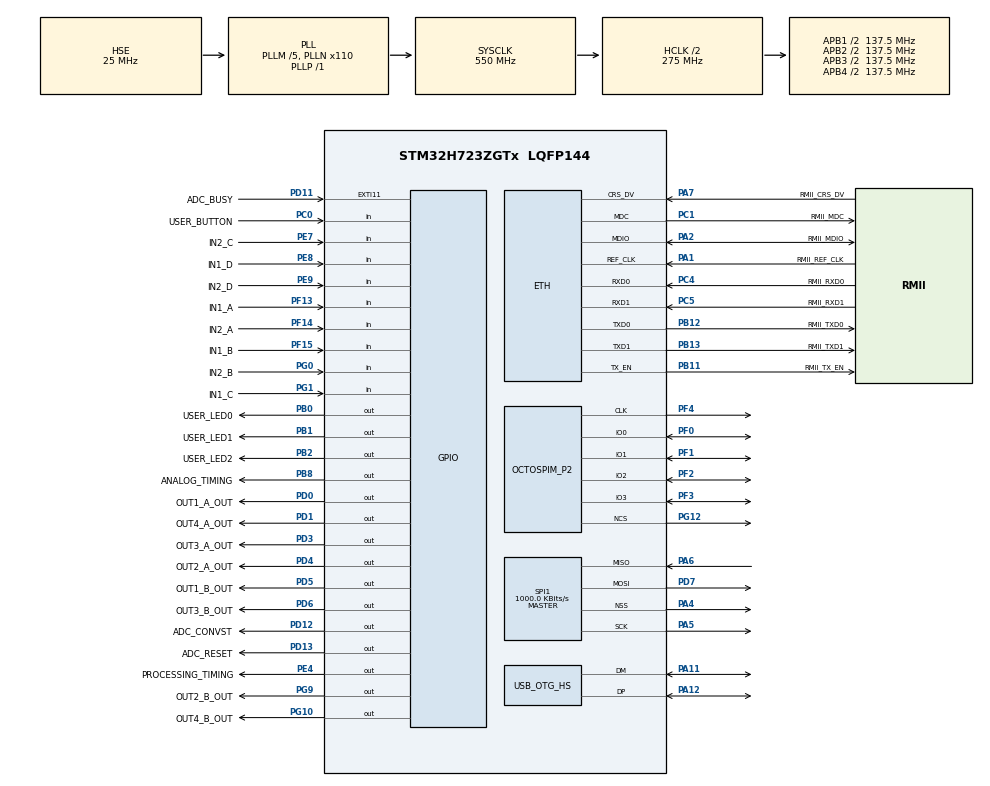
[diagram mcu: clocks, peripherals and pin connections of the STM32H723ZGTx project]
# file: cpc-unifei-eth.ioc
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ADC3.Channel-0\#ChannelRegularConversion=ADC_CHANNEL_TEMPSENSOR
ADC3.NbrOfConversionFlag=1
ADC3.OffsetNumber-0\#ChannelRegularConversion=ADC_OFFSET_NONE
ADC3.OffsetSign-0\#ChannelRegularConversion=ADC3_OFFSET_SIGN_NEGATIVE
ADC3.OversamplingMode=ENABLE
ADC3.Rank-0\#ChannelRegularConversion=1
ADC3.Ratio=ADC3_OVERSAMPLING_RATIO_8
ADC3.RightBitShift=ADC_RIGHTBITSHIFT_3
ADC3.SamplingTime-0\#ChannelRegularConversion=ADC3_SAMPLETIME_640CYCLES_5
CORTEX_M7.AccessPermission_S-Cortex_Memory_Protection_Unit_Region1_Settings_S=MPU_REGION_FULL_ACCESS
CORTEX_M7.AccessPermission_S-Cortex_Memory_Protection_Unit_Region2_Settings_S=MPU_REGION_FULL_ACCESS
CORTEX_M7.BaseAddress_S-Cortex_Memory_Protection_Unit_Region1_Settings_S=0x30000000
CORTEX_M7.BaseAddress_S-Cortex_Memory_Protection_Unit_Region2_Settings_S=0x30000000
CORTEX_M7.CPU_DCache=Enabled
CORTEX_M7.CPU_ICache=Enabled
CORTEX_M7.DisableExec_S-Cortex_Memory_Protection_Unit_Region1_Settings_S=MPU_INSTRUCTION_ACCESS_DISABLE
CORTEX_M7.DisableExec_S-Cortex_Memory_Protection_Unit_Region2_Settings_S=MPU_INSTRUCTION_ACCESS_DISABLE
CORTEX_M7.Enable_S-Cortex_Memory_Protection_Unit_Region1_Settings_S=MPU_REGION_ENABLE
CORTEX_M7.Enable_S-Cortex_Memory_Protection_Unit_Region2_Settings_S=MPU_REGION_ENABLE
CORTEX_M7.IsBufferable_S-Cortex_Memory_Protection_Unit_Region2_Settings_S=MPU_ACCESS_BUFFERABLE
CORTEX_M7.IsShareable_S-Cortex_Memory_Protection_Unit_Region2_Settings_S=MPU_ACCESS_SHAREABLE
CORTEX_M7.Size_S-Cortex_Memory_Protection_Unit_Region1_Settings_S=MPU_REGION_SIZE_32KB
CORTEX_M7.Size_S-Cortex_Memory_Protection_Unit_Region2_Settings_S=MPU_REGION_SIZE_512B
CORTEX_M7.TypeExtField_S-Cortex_Memory_Protection_Unit_Region1_Settings_S=MPU_TEX_LEVEL1
CORTEX_M7.default_mode_Activation=1
Dma.Request0=SPI1_RX
Dma.Request1=SPI1_TX
Dma.SPI1_RX.0.Direction=DMA_PERIPH_TO_MEMORY
Dma.SPI1_RX.0.EventEnable=DISABLE
Dma.SPI1_RX.0.FIFOMode=DMA_FIFOMODE_DISABLE
Dma.SPI1_RX.0.Instance=DMA1_Stream0
Dma.SPI1_RX.0.MemDataAlignment=DMA_MDATAALIGN_BYTE
Dma.SPI1_RX.0.MemInc=DMA_MINC_ENABLE
Dma.SPI1_RX.0.Mode=DMA_CIRCULAR
Dma.SPI1_RX.0.PeriphDataAlignment=DMA_PDATAALIGN_BYTE
Dma.SPI1_RX.0.PeriphInc=DMA_PINC_DISABLE
Dma.SPI1_RX.0.Polarity=HAL_DMAMUX_REQ_GEN_RISING
Dma.SPI1_RX.0.Priority=DMA_PRIORITY_VERY_HIGH
Dma.SPI1_RX.0.RequestNumber=1
Dma.SPI1_RX.0.SignalID=NONE
Dma.SPI1_RX.0.SyncEnable=DISABLE
Dma.SPI1_RX.0.SyncPolarity=HAL_DMAMUX_SYNC_NO_EVENT
Dma.SPI1_RX.0.SyncRequestNumber=1
Dma.SPI1_RX.0.SyncSignalID=NONE
Dma.SPI1_TX.1.Direction=DMA_MEMORY_TO_PERIPH
Dma.SPI1_TX.1.EventEnable=DISABLE
Dma.SPI1_TX.1.FIFOMode=DMA_FIFOMODE_DISABLE
Dma.SPI1_TX.1.Instance=DMA1_Stream1
Dma.SPI1_TX.1.MemDataAlignment=DMA_MDATAALIGN_BYTE
Dma.SPI1_TX.1.MemInc=DMA_MINC_ENABLE
Dma.SPI1_TX.1.Mode=DMA_CIRCULAR
Dma.SPI1_TX.1.PeriphDataAlignment=DMA_PDATAALIGN_BYTE
Dma.SPI1_TX.1.PeriphInc=DMA_PINC_DISABLE
Dma.SPI1_TX.1.Polarity=HAL_DMAMUX_REQ_GEN_RISING
Dma.SPI1_TX.1.Priority=DMA_PRIORITY_VERY_HIGH
Dma.SPI1_TX.1.RequestNumber=1
Dma.SPI1_TX.1.SignalID=NONE
Dma.SPI1_TX.1.SyncEnable=DISABLE
Dma.SPI1_TX.1.SyncPolarity=HAL_DMAMUX_SYNC_NO_EVENT
Dma.SPI1_TX.1.SyncRequestNumber=1
Dma.SPI1_TX.1.SyncSignalID=NONE
ETH.MediaInterface=HAL_ETH_RMII_MODE
ETH.RxBuffLen=1536
ETH.TxDescAddress=0x30000100
FREERTOS.Tasks01=defaultTask,24,512,StartDefaultTask,Default,NULL,Dynamic,NULL,NULL
FREERTOS.configCHECK_FOR_STACK_OVERFLOW=1
FREERTOS.configMINIMAL_STACK_SIZE=512
FREERTOS.configTOTAL_HEAP_SIZE=30*1024
FREERTOS.configUSE_NEWLIB_REENTRANT=1
LWIP.BSP.number=1
LWIP.DEFAULT_THREAD_STACKSIZE=2048
LWIP.IP_ADDRESS=192.168.001.010
LWIP.LWIP_DHCP=0
LWIP.LWIP_RAM_HEAP_POINTER=0x30000200
LWIP.MEM_SIZE=32232
LWIP.NETMASK_ADDRESS=255.255.255.000
LWIP.TCPIP_THREAD_STACKSIZE=2048
LWIP.TCP_MSS=1460
LWIP.TCP_SND_BUF=5840
LWIP.TCP_SND_QUEUELEN=16
LWIP.Version=v2.1.2_Cube
LWIP0.BSP.STBoard=false
LWIP0.BSP.api=BSP_COMPONENT_DRIVER
LWIP0.BSP.component=LAN8742
LWIP0.BSP.instance=LAN8742
LWIP0.BSP.name=Driver_PHY
LWIP0.BSP.semaphore=S_LAN8742
LWIP0.BSP.solution=LAN8742
Mcu.Family=STM32H7
Mcu.Name=STM32H723ZGTx
Mcu.Package=LQFP144
NVIC.DMA1_Stream0_IRQn=true\:5\:0\:false\:false\:true\:true\:false\:true\:true
NVIC.DMA1_Stream1_IRQn=true\:5\:0\:false\:false\:true\:true\:false\:true\:true
NVIC.ETH_IRQn=true\:5\:0\:false\:false\:true\:true\:true\:true\:true
NVIC.EXTI15_10_IRQn=true\:5\:0\:false\:false\:true\:true\:true\:true\:true
NVIC.OTG_HS_IRQn=true\:5\:0\:false\:false\:true\:true\:false\:true\:true
NVIC.PriorityGroup=NVIC_PRIORITYGROUP_4
NVIC.SPI1_IRQn=true\:5\:0\:false\:false\:true\:true\:false\:true\:true
NVIC.TIM2_IRQn=true\:5\:0\:false\:false\:true\:true\:true\:true\:true
NVIC.TIM3_IRQn=true\:5\:0\:false\:false\:true\:true\:true\:true\:true
NVIC.TIM6_DAC_IRQn=true\:15\:0\:false\:false\:true\:false\:false\:true\:true
NVIC.TimeBase=TIM6_DAC_IRQn
NVIC.TimeBaseIP=TIM6
OCTOSPI1.ChipSelectHighTime=1
OCTOSPI1.ClockPrescaler=1
OCTOSPI1.DelayHoldQuarterCycle=HAL_OSPI_DHQC_DISABLE
OCTOSPI1.DeviceSize=23
OCTOSPI1.DeviceType=SPI_DEVICE_FLASH
OCTOSPI1.SampleShifting=HAL_OSPI_SAMPLE_SHIFTING_HALFCYCLE
PA1.GPIO_Label=RMII_REF_CLK
PA1.GPIO_Speed=GPIO_SPEED_FREQ_VERY_HIGH
PA1.Mode=RMII
PA1.Signal=ETH_REF_CLK
PA11.Mode=Device_Only_FS
PA11.Signal=USB_OTG_HS_DM
PA12.Mode=Device_Only_FS
PA12.Signal=USB_OTG_HS_DP
PA13(JTMS/SWDIO).GPIO_Label=SWDIO
PA13(JTMS/SWDIO).Mode=Serial_Wire
PA13(JTMS/SWDIO).Signal=DEBUG_JTMS-SWDIO
PA14(JTCK/SWCLK).GPIO_Label=SWCLK
PA14(JTCK/SWCLK).Mode=Serial_Wire
PA14(JTCK/SWCLK).Signal=DEBUG_JTCK-SWCLK
PA2.GPIO_Label=RMII_MDIO
PA2.GPIO_Speed=GPIO_SPEED_FREQ_VERY_HIGH
PA2.Mode=RMII
PA2.Signal=ETH_MDIO
PA4.GPIO_Speed=GPIO_SPEED_FREQ_VERY_HIGH
PA4.Mode=NSS_Signal_Hard_Output
PA4.Signal=SPI1_NSS
PA5.GPIO_Speed=GPIO_SPEED_FREQ_VERY_HIGH
PA5.Mode=Full_Duplex_Master
PA5.Signal=SPI1_SCK
PA6.GPIO_Speed=GPIO_SPEED_FREQ_VERY_HIGH
PA6.Mode=Full_Duplex_Master
PA6.Signal=SPI1_MISO
PA7.GPIO_Label=RMII_CRS_DV
PA7.GPIO_Speed=GPIO_SPEED_FREQ_VERY_HIGH
PA7.Mode=RMII
PA7.Signal=ETH_CRS_DV
PB0.GPIO_Label=USER_LED0
PB0.Signal=GPIO_Output
PB1.GPIO_Label=USER_LED1
PB1.Signal=GPIO_Output
PB11.GPIO_Label=RMII_TX_EN
PB11.GPIO_Speed=GPIO_SPEED_FREQ_VERY_HIGH
PB11.Mode=RMII
PB11.Signal=ETH_TX_EN
PB12.GPIO_Label=RMII_TXD0
PB12.GPIO_Speed=GPIO_SPEED_FREQ_VERY_HIGH
PB12.Mode=RMII
PB12.Signal=ETH_TXD0
PB13.GPIO_Label=RMII_TXD1
PB13.GPIO_Speed=GPIO_SPEED_FREQ_VERY_HIGH
PB13.Mode=RMII
PB13.Signal=ETH_TXD1
PB2.GPIO_Label=USER_LED2
PB2.Signal=GPIO_Output
PB8.GPIO_FM8=__NULL
PB8.GPIO_Label=ANALOG_TIMING
PB8.GPIO_Speed=GPIO_SPEED_FREQ_VERY_HIGH
PB8.Signal=GPIO_Output
PC0.GPIO_Label=USER_BUTTON
PC0.Signal=GPIO_Input
PC1.GPIO_Label=RMII_MDC
PC1.GPIO_Speed=GPIO_SPEED_FREQ_VERY_HIGH
PC1.Mode=RMII
PC1.Signal=ETH_MDC
PC4.GPIO_Label=RMII_RXD0
PC4.GPIO_Speed=GPIO_SPEED_FREQ_VERY_HIGH
PC4.Mode=RMII
PC4.Signal=ETH_RXD0
PC5.GPIO_Label=RMII_RXD1
PC5.GPIO_Speed=GPIO_SPEED_FREQ_VERY_HIGH
PC5.Mode=RMII
PC5.Signal=ETH_RXD1
PD0.GPIO_Label=OUT1_A_OUT
PD0.Signal=GPIO_Output
PD1.GPIO_Label=OUT4_A_OUT
PD1.Signal=GPIO_Output
PD11.GPIO_Label=ADC_BUSY
PD11.GPIO_ModeDefaultEXTI=GPIO_MODE_IT_FALLING
PD11.Signal=GPXTI11
PD12.GPIO_Label=ADC_CONVST
PD12.GPIO_ModeDefaultOutputPP=GPIO_MODE_OUTPUT_PP
PD12.GPIO_PuPd=GPIO_NOPULL
PD12.GPIO_Speed=GPIO_SPEED_FREQ_VERY_HIGH
PD12.PinState=GPIO_PIN_RESET
PD12.Signal=GPIO_Output
PD13.GPIO_Label=ADC_RESET
PD13.GPIO_ModeDefaultOutputPP=GPIO_MODE_OUTPUT_PP
PD13.GPIO_PuPd=GPIO_NOPULL
PD13.GPIO_Speed=GPIO_SPEED_FREQ_VERY_HIGH
PD13.PinState=GPIO_PIN_SET
PD13.Signal=GPIO_Output
PD3.GPIO_Label=OUT3_A_OUT
PD3.Signal=GPIO_Output
PD4.GPIO_Label=OUT2_A_OUT
PD4.Signal=GPIO_Output
PD5.GPIO_Label=OUT1_B_OUT
PD5.Signal=GPIO_Output
PD6.GPIO_Label=OUT3_B_OUT
PD6.Signal=GPIO_Output
PD7.GPIO_Speed=GPIO_SPEED_FREQ_VERY_HIGH
PD7.Mode=Full_Duplex_Master
PD7.Signal=SPI1_MOSI
PE4.GPIO_Label=PROCESSING_TIMING
PE4.GPIO_Speed=GPIO_SPEED_FREQ_VERY_HIGH
PE4.Signal=GPIO_Output
PE7.GPIO_Label=IN2_C
PE7.Signal=GPIO_Input
PE8.GPIO_Label=IN1_D
PE8.Signal=GPIO_Input
PE9.GPIO_Label=IN2_D
PE9.Signal=GPIO_Input
PF0.Mode=OCTOSPI1_IOL_Port2L
PF0.Signal=OCTOSPIM_P2_IO0
PF1.Mode=OCTOSPI1_IOL_Port2L
PF1.Signal=OCTOSPIM_P2_IO1
PF13.GPIO_Label=IN1_A
PF13.Signal=GPIO_Input
PF14.GPIO_Label=IN2_A
PF14.Signal=GPIO_Input
PF15.GPIO_Label=IN1_B
PF15.Signal=GPIO_Input
PF2.Mode=OCTOSPI1_IOL_Port2L
PF2.Signal=OCTOSPIM_P2_IO2
PF3.Mode=OCTOSPI1_IOL_Port2L
PF3.Signal=OCTOSPIM_P2_IO3
PF4.Mode=O1_P2_CLK
PF4.Signal=OCTOSPIM_P2_CLK
PG0.GPIO_Label=IN2_B
PG0.Signal=GPIO_Input
PG1.GPIO_Label=IN1_C
PG1.Signal=GPIO_Input
PG10.GPIO_Label=OUT4_B_OUT
PG10.Signal=GPIO_Output
PG12.Mode=OCTOSPI1_Port2_NCS
PG12.Signal=OCTOSPIM_P2_NCS
PG9.GPIO_Label=OUT2_B_OUT
PG9.Signal=GPIO_Output
PH0-OSC_IN.Mode=HSE-External-Clock-Source
PH0-OSC_IN.Signal=RCC_OSC_IN
ProjectManager.HeapSize=0x200
ProjectManager.StackSize=0x400
ProjectManager.TargetToolchain=STM32CubeIDE
RCC.ADCFreq_Value=64000000
RCC.APB1Freq_Value=137500000
RCC.APB2Freq_Value=137500000
RCC.APB3Freq_Value=137500000
RCC.APB4Freq_Value=137500000
RCC.CKPERSourceSelection=RCC_CLKPSOURCE_HSE
RCC.CortexFreq_Value=550000000
RCC.D1PPRE=RCC_APB3_DIV2
RCC.D2PPRE1=RCC_APB1_DIV2
RCC.D2PPRE2=RCC_APB2_DIV2
RCC.D3PPRE=RCC_APB4_DIV2
RCC.DIVM1=5
RCC.DIVM2=5
RCC.DIVN1=110
RCC.DIVN2=64
RCC.DIVP1=1
RCC.DIVP2=5
RCC.DIVQ1=4
RCC.HCLKFreq_Value=275000000
RCC.HPRE=RCC_HCLK_DIV2
RCC.HSE_VALUE=25000000
RCC.PLL2FRACN=0
RCC.PLL3FRACN=0
RCC.PLLFRACN=0
RCC.PLLSourceVirtual=RCC_PLLSOURCE_HSE
RCC.QSPICLockSelection=RCC_OSPICLKSOURCE_CLKP
RCC.SPI123CLockSelection=RCC_SPI123CLKSOURCE_PLL2
RCC.SYSCLKFreq_VALUE=550000000
RCC.SYSCLKSource=RCC_SYSCLKSOURCE_PLLCLK
RCC.USBCLockSelection=RCC_USBCLKSOURCE_HSI48
RCC.USBFreq_Value=48000000
SPI1.BaudRatePrescaler=SPI_BAUDRATEPRESCALER_64
SPI1.CLKPhase=SPI_PHASE_1EDGE
SPI1.CLKPolarity=SPI_POLARITY_HIGH
SPI1.CalculateBaudRate=1000.0 KBits/s
SPI1.DataSize=SPI_DATASIZE_8BIT
SPI1.Direction=SPI_DIRECTION_2LINES
SPI1.MasterKeepIOState=SPI_MASTER_KEEP_IO_STATE_DISABLE
SPI1.MasterSSIdleness=SPI_MASTER_SS_IDLENESS_01CYCLE
SPI1.Mode=SPI_MODE_MASTER
SPI1.NSSPMode=SPI_NSS_PULSE_DISABLE
SPI1.TIMode=SPI_TIMODE_DISABLE
SPI1.VirtualNSS=VM_NSSHARD
SPI1.VirtualType=VM_MASTER
TIM2.AutoReloadPreload=TIM_AUTORELOAD_PRELOAD_ENABLE
TIM2.Period=274999
TIM3.AutoReloadPreload=TIM_AUTORELOAD_PRELOAD_ENABLE
TIM3.Period=57290
TIM3.Prescaler=4
USB_DEVICE.CLASS_NAME_HS=CDC
USB_DEVICE.VirtualMode=Cdc
USB_DEVICE.VirtualModeHS=Cdc_HS
USB_OTG_HS.VirtualMode-Device_Only_FS=Device_Only_FS
VP_ADC3_TempSens_Input.Mode=IN-TempSens
VP_FREERTOS_VS_CMSIS_V2.Mode=CMSIS_V2
VP_LWIP_VS_Enabled.Mode=Enabled
VP_MEMORYMAP_VS_MEMORYMAP.Mode=CurAppReg
VP_OCTOSPI1_VS_quad.Mode=quad_mode
VP_SYS_VS_tim6.Mode=TIM6
VP_TIM2_VS_ClockSourceINT.Mode=Internal
VP_TIM3_VS_ClockSourceINT.Mode=Internal
VP_USB_DEVICE_VS_USB_DEVICE_CDC_HS.Mode=CDC_HS
board=NUCLEO-H723ZG

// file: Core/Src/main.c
/* USER CODE BEGIN Header */
/**
  ******************************************************************************
  * @file           : main.c
  * @brief          : Main program body
  ******************************************************************************
  * @attention
  *
  * Copyright (c) 2024 STMicroelectronics.
  * All rights reserved.
  *
  * This software is licensed under terms that can be found in the LICENSE file
  * in the root directory of this software component.
  * If no LICENSE file comes with this software, it is provided AS-IS.
  *
  ******************************************************************************
  */
/* USER CODE END Header */
#include "main.h"
#include "cmsis_os.h"
#include "adc.h"
#include "dma.h"
#include "lwip.h"
#include "memorymap.h"
#include "octospi.h"
#include "spi.h"
#include "tim.h"
#include "usb_device.h"
#include "gpio.h"

/* USER CODE BEGIN Includes */
#include "real_time.h"
/* USER CODE END Includes */

void SystemClock_Config(void);
void PeriphCommonClock_Config(void);
static void MPU_Config(void);
void MX_FREERTOS_Init(void);

int main(void)
{

  /* MPU Configuration--------------------------------------------------------*/
  MPU_Config();

  /* Enable the CPU Cache */

  /* Enable I-Cache---------------------------------------------------------*/
  SCB_EnableICache();

  /* Enable D-Cache---------------------------------------------------------*/
  SCB_EnableDCache();

  /* MCU Configuration--------------------------------------------------------*/

  /* Reset of all peripherals, Initializes the Flash interface and the Systick. */
  HAL_Init();

  /* Configure the system clock */
  SystemClock_Config();

  /* Configure the peripherals common clocks */
  PeriphCommonClock_Config();

  /* Initialize all configured peripherals */
  MX_GPIO_Init();
  MX_DMA_Init();
  MX_ADC3_Init();
  MX_OCTOSPI1_Init();
  MX_SPI1_Init();
  MX_TIM2_Init();
  MX_TIM3_Init();

  /* Init scheduler */
  osKernelInitialize();

  /* Call init function for freertos objects (in cmsis_os2.c) */
  MX_FREERTOS_Init();

  /* Start scheduler */
  osKernelStart();

  /* We should never get here as control is now taken by the scheduler */

  /* Infinite loop */
  while (1)
  {

  }
}

void SystemClock_Config(void)
{
  RCC_OscInitTypeDef RCC_OscInitStruct = {0};
  RCC_ClkInitTypeDef RCC_ClkInitStruct = {0};

  /** Supply configuration update enable
  */
  HAL_PWREx_ConfigSupply(PWR_LDO_SUPPLY);

  /** Configure the main internal regulator output voltage
  */
  __HAL_PWR_VOLTAGESCALING_CONFIG(PWR_REGULATOR_VOLTAGE_SCALE0);

  while(!__HAL_PWR_GET_FLAG(PWR_FLAG_VOSRDY)) {}

  /** Initializes the RCC Oscillators according to the specified parameters
  * in the RCC_OscInitTypeDef structure.
  */
  RCC_OscInitStruct.OscillatorType = RCC_OSCILLATORTYPE_HSI48|RCC_OSCILLATORTYPE_HSE;
  RCC_OscInitStruct.HSEState = RCC_HSE_BYPASS;
  RCC_OscInitStruct.HSI48State = RCC_HSI48_ON;
  RCC_OscInitStruct.PLL.PLLState = RCC_PLL_ON;
  RCC_OscInitStruct.PLL.PLLSource = RCC_PLLSOURCE_HSE;
  RCC_OscInitStruct.PLL.PLLM = 5;
  RCC_OscInitStruct.PLL.PLLN = 110;
  RCC_OscInitStruct.PLL.PLLP = 1;
  RCC_OscInitStruct.PLL.PLLQ = 4;
  RCC_OscInitStruct.PLL.PLLR = 2;
  RCC_OscInitStruct.PLL.PLLRGE = RCC_PLL1VCIRANGE_2;
  RCC_OscInitStruct.PLL.PLLVCOSEL = RCC_PLL1VCOWIDE;
  RCC_OscInitStruct.PLL.PLLFRACN = 0;
  if (HAL_RCC_OscConfig(&RCC_OscInitStruct) != HAL_OK)
  {
    Error_Handler();
  }

  /** Initializes the CPU, AHB and APB buses clocks
  */
  RCC_ClkInitStruct.ClockType = RCC_CLOCKTYPE_HCLK|RCC_CLOCKTYPE_SYSCLK
                              |RCC_CLOCKTYPE_PCLK1|RCC_CLOCKTYPE_PCLK2
                              |RCC_CLOCKTYPE_D3PCLK1|RCC_CLOCKTYPE_D1PCLK1;
  RCC_ClkInitStruct.SYSCLKSource = RCC_SYSCLKSOURCE_PLLCLK;
  RCC_ClkInitStruct.SYSCLKDivider = RCC_SYSCLK_DIV1;
  RCC_ClkInitStruct.AHBCLKDivider = RCC_HCLK_DIV2;
  RCC_ClkInitStruct.APB3CLKDivider = RCC_APB3_DIV2;
  RCC_ClkInitStruct.APB1CLKDivider = RCC_APB1_DIV2;
  RCC_ClkInitStruct.APB2CLKDivider = RCC_APB2_DIV2;
  RCC_ClkInitStruct.APB4CLKDivider = RCC_APB4_DIV2;

  if (HAL_RCC_ClockConfig(&RCC_ClkInitStruct, FLASH_LATENCY_3) != HAL_OK)
  {
    Error_Handler();
  }
}

void PeriphCommonClock_Config(void)
{
  RCC_PeriphCLKInitTypeDef PeriphClkInitStruct = {0};

  /** Initializes the peripherals clock
  */
  PeriphClkInitStruct.PeriphClockSelection = RCC_PERIPHCLK_ADC|RCC_PERIPHCLK_SPI1
                              |RCC_PERIPHCLK_CKPER;
  PeriphClkInitStruct.PLL2.PLL2M = 5;
  PeriphClkInitStruct.PLL2.PLL2N = 64;
  PeriphClkInitStruct.PLL2.PLL2P = 5;
  PeriphClkInitStruct.PLL2.PLL2Q = 2;
  PeriphClkInitStruct.PLL2.PLL2R = 2;
  PeriphClkInitStruct.PLL2.PLL2RGE = RCC_PLL2VCIRANGE_2;
  PeriphClkInitStruct.PLL2.PLL2VCOSEL = RCC_PLL2VCOWIDE;
  PeriphClkInitStruct.PLL2.PLL2FRACN = 0;
  PeriphClkInitStruct.CkperClockSelection = RCC_CLKPSOURCE_HSE;
  PeriphClkInitStruct.Spi123ClockSelection = RCC_SPI123CLKSOURCE_PLL2;
  PeriphClkInitStruct.AdcClockSelection = RCC_ADCCLKSOURCE_PLL2;
  if (HAL_RCCEx_PeriphCLKConfig(&PeriphClkInitStruct) != HAL_OK)
  {
    Error_Handler();
  }
}

/* USER CODE BEGIN 4 */
void HAL_SPI_RxCpltCallback(SPI_HandleTypeDef * hspi)
{

}

void HAL_GPIO_EXTI_Callback(uint16_t GPIO_Pin)
{
	if (real_time_analog_busy_semaphore_can_release(GPIO_Pin)) // Replace BUSY_Pin with the actual pin number for your BUSY signal
	{
		real_time_adc_busy_flag_set();
	}
}
/* USER CODE END 4 */

 /* MPU Configuration */

void MPU_Config(void)
{
  MPU_Region_InitTypeDef MPU_InitStruct = {0};

  /* Disables the MPU */
  HAL_MPU_Disable();

  /** Initializes and configures the Region and the memory to be protected
  */
  MPU_InitStruct.Enable = MPU_REGION_ENABLE;
  MPU_InitStruct.Number = MPU_REGION_NUMBER0;
  MPU_InitStruct.BaseAddress = 0x0;
  MPU_InitStruct.Size = MPU_REGION_SIZE_4GB;
  MPU_InitStruct.SubRegionDisable = 0x87;
  MPU_InitStruct.TypeExtField = MPU_TEX_LEVEL0;
  MPU_InitStruct.AccessPermission = MPU_REGION_NO_ACCESS;
  MPU_InitStruct.DisableExec = MPU_INSTRUCTION_ACCESS_DISABLE;
  MPU_InitStruct.IsShareable = MPU_ACCESS_SHAREABLE;
  MPU_InitStruct.IsCacheable = MPU_ACCESS_NOT_CACHEABLE;
  MPU_InitStruct.IsBufferable = MPU_ACCESS_NOT_BUFFERABLE;

  HAL_MPU_ConfigRegion(&MPU_InitStruct);

  /** Initializes and configures the Region and the memory to be protected
  */
  MPU_InitStruct.Number = MPU_REGION_NUMBER1;
  MPU_InitStruct.BaseAddress = 0x30000000;
  MPU_InitStruct.Size = MPU_REGION_SIZE_32KB;
  MPU_InitStruct.SubRegionDisable = 0x0;
  MPU_InitStruct.TypeExtField = MPU_TEX_LEVEL1;
  MPU_InitStruct.AccessPermission = MPU_REGION_FULL_ACCESS;
  MPU_InitStruct.IsShareable = MPU_ACCESS_NOT_SHAREABLE;

  HAL_MPU_ConfigRegion(&MPU_InitStruct);

  /** Initializes and configures the Region and the memory to be protected
  */
  MPU_InitStruct.Number = MPU_REGION_NUMBER2;
  MPU_InitStruct.Size = MPU_REGION_SIZE_512B;
  MPU_InitStruct.TypeExtField = MPU_TEX_LEVEL0;
  MPU_InitStruct.IsShareable = MPU_ACCESS_SHAREABLE;
  MPU_InitStruct.IsBufferable = MPU_ACCESS_BUFFERABLE;

  HAL_MPU_ConfigRegion(&MPU_InitStruct);
  /* Enables the MPU */
  HAL_MPU_Enable(MPU_PRIVILEGED_DEFAULT);

}

void HAL_TIM_PeriodElapsedCallback(TIM_HandleTypeDef *htim)
{
  if (htim->Instance == TIM6) {
    HAL_IncTick();
  }
  /* USER CODE BEGIN Callback 1 */

	if (htim->Instance == TIM3)
	{
		real_time_adc_timing_flag_set();
	}
  /* USER CODE END Callback 1 */
}

void Error_Handler(void)
{
  /* USER CODE BEGIN Error_Handler_Debug */
  /* User can add his own implementation to report the HAL error return state */
  __disable_irq();
	HAL_GPIO_WritePin(USER_LED1_GPIO_Port, USER_LED1_Pin, GPIO_PIN_SET);
  while (1)
  {
  }
  /* USER CODE END Error_Handler_Debug */
}

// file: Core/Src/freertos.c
/* USER CODE BEGIN Header */
/**
  ******************************************************************************
  * File Name          : freertos.c
  * Description        : Code for freertos applications
  ******************************************************************************
  * @attention
  *
  * Copyright (c) 2024 STMicroelectronics.
  * All rights reserved.
  *
  * This software is licensed under terms that can be found in the LICENSE file
  * in the root directory of this software component.
  * If no LICENSE file comes with this software, it is provided AS-IS.
  *
  ******************************************************************************
  */
/* USER CODE END Header */

#include "FreeRTOS.h"
#include "task.h"
#include "main.h"
#include "cmsis_os.h"

/* USER CODE BEGIN Includes */
/* ETH_CODE: add lwiperf, see comment in StartDefaultTask function */
#include "lwip.h"
#include "udp_server.h"
#include <string.h>
#include "application.h"
#include "real_time.h"
#include "config.h"
#include "nor_flash.h"
/* USER CODE END Includes */

/* Definitions for defaultTask */
osThreadId_t defaultTaskHandle;
const osThreadAttr_t defaultTask_attributes = {
  .name = "defaultTask",
  .stack_size = 512 * 4,
  .priority = (osPriority_t) osPriorityNormal,
};

void StartDefaultTask(void *argument);

extern void MX_LWIP_Init(void);
extern void MX_USB_DEVICE_Init(void);
void MX_FREERTOS_Init(void); /* (MISRA C 2004 rule 8.1) */

/* Hook prototypes */
void vApplicationStackOverflowHook(xTaskHandle xTask, signed char *pcTaskName);

/* USER CODE BEGIN 4 */
void vApplicationStackOverflowHook(xTaskHandle xTask, signed char *pcTaskName)
{
	/* Run time stack overflow checking is performed if
	configCHECK_FOR_STACK_OVERFLOW is defined to 1 or 2. This hook function is
	called if a stack overflow is detected. */
		/* ETH_CODE: add breakpoint when stack oveflow is detected by FreeRTOS.
	 * Useful for debugging issues.
	 */
	__BKPT(0);
}
/* USER CODE END 4 */

void MX_FREERTOS_Init(void) {

  /* Create the thread(s) */
  /* creation of defaultTask */
  defaultTaskHandle = osThreadNew(StartDefaultTask, NULL, &defaultTask_attributes);

}

/* USER CODE BEGIN Header_StartDefaultTask */
/**
  * @brief  Function implementing the defaultTask thread.
  * @param  argument: Not used
  * @retval None
  */
general_config default_config = { 0 };
/* USER CODE END Header_StartDefaultTask */
void StartDefaultTask(void *argument)
{
  /* init code for LWIP */
  MX_LWIP_Init();

  /* init code for USB_DEVICE */
  MX_USB_DEVICE_Init();
  /* USER CODE BEGIN StartDefaultTask */
	/* ETH_CODE: Adding lwiperf to measure TCP/IP performance.
	     * iperf 2.0.6 (or older?) is required for the tests. Newer iperf2 versions
	     * might work without data check, but they send different headers.
	     * iperf3 is not compatible at all.
	     * Adding lwiperf.c file to the project is necessary.
	     * The default include path should already contain
	     * 'lwip/apps/lwiperf.h'
	     */
	osDelay(1000);

	default_config.header.magic_number = CONFIG_MAGIC_NUMBER;
	default_config.header.uid = 0xdeadbeef;
	default_config.header.version = CONFIG_VERSION;
	default_config.analog.channel_0a.adc_to_sec_ratio = 10;
	default_config.analog.channel_0a.filter = DFT;
	default_config.analog.channel_0a.is_enabled = true;
	default_config.analog.channel_0a.itr_ratio = 800;
	default_config.analog.channel_0a.type = CURRENT;

	nor_flash_init();
	udp_server_init();
	application_init();
	real_time_init();

	if (!config_restore())
	{
		config_set(&default_config);
	}

	/* Infinite loop */
	for (;;)
	{

	}
  /* USER CODE END StartDefaultTask */
}
